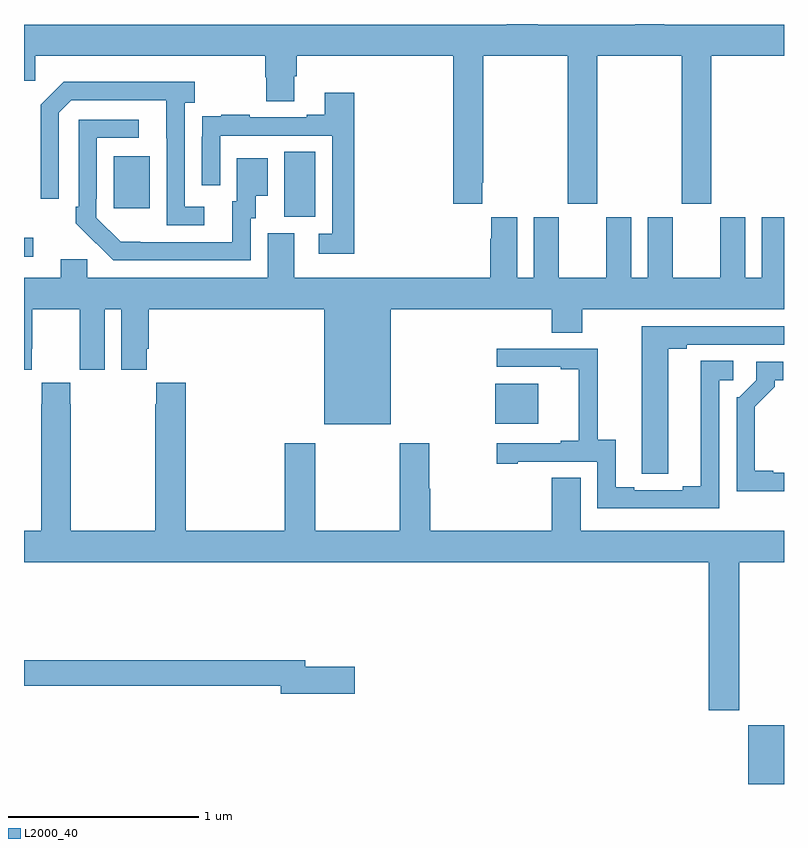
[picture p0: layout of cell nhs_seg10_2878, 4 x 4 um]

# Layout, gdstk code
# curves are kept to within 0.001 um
import gdstk
lib = gdstk.Library(unit=1e-6, precision=1e-09)
def R(c, l, rs):  # rectangles x0, y0, x1, y1
    for r in rs: c.add(gdstk.rectangle(r[:2], r[2:], *l))
def P(c, l, *ps):  # polygons
    for p in ps: c.add(gdstk.Polygon(p, *l))
L2000_40 = (2000, 40)

nhs_seg10_2878 = lib.new_cell('nhs_seg10_2878')
R(nhs_seg10_2878, L2000_40, [(270.812,1280.5,271,1280.809), (269.48,1282.397,269.707,1282.606), (267,1283.274,267.049,1283.375), (268.37,1283.485,268.534,1283.828), (267.473,1283.529,267.661,1283.803)])
P(nhs_seg10_2878, L2000_40, [(269.413,1283.665),(269.418,1283.665),(269.418,1284.332),(269.863,1284.332),(269.863,1283.553),(270.018,1283.553),(270.018,1284.332),(270.463,1284.332),(270.463,1283.553),(270.618,1283.553),(270.618,1284.332),(271,1284.332),(271,1284.496),(270.369,1284.496),(270.369,1284.5),(270.218,1284.5),(270.218,1284.496),(269.705,1284.496),(269.705,1284.5),(269.54,1284.5),(269.54,1284.496),(267,1284.496),(267,1284.201),(267.06,1284.201),(267.06,1284.332),(268.271,1284.332),(268.271,1284.219),(268.276,1284.219),(268.276,1284.094),(268.423,1284.094),(268.423,1284.226),(268.436,1284.226),(268.436,1284.332),(269.258,1284.332),(269.258,1283.553),(269.413,1283.553)],
  [(267.949,1283.538),(267.846,1283.538),(267.846,1284.086),(267.898,1284.086),(267.898,1284.196),(267.208,1284.196),(267.087,1284.075),(267.087,1283.58),(267.183,1283.58),(267.183,1284.033),(267.249,1284.099),(267.749,1284.099),(267.75,1283.442),(267.949,1283.442)],
  [(268.739,1284.139),(268.583,1284.139),(268.583,1284.022),(268.487,1284.022),(268.487,1284.009),(268.187,1284.009),(268.187,1284.022),(268.039,1284.022),(268.039,1284.015),(267.937,1284.015),(267.937,1283.906),(267.936,1283.906),(267.936,1283.652),(268.032,1283.652),(268.032,1283.913),(268.623,1283.913),(268.623,1283.397),(268.551,1283.397),(268.551,1283.292),(268.739,1283.292)],
  [(268.194,1283.478),(268.219,1283.478),(268.219,1283.597),(268.282,1283.597),(268.282,1283.794),(268.121,1283.794),(268.121,1283.568),(268.097,1283.568),(268.097,1283.352),(267.51,1283.353),(267.381,1283.481),(267.381,1283.581),(267.384,1283.581),(267.384,1283.901),(267.604,1283.901),(267.604,1283.997),(267.288,1283.997),(267.288,1283.539),(267.273,1283.539),(267.273,1283.451),(267.47,1283.256),(268.194,1283.256)],
  [(268.93,1283),(269.777,1283),(269.777,1282.876),(269.937,1282.876),(269.937,1283),(271,1283),(271,1283.482),(270.884,1283.482),(270.884,1283.164),(270.796,1283.164),(270.796,1283.482),(270.665,1283.482),(270.665,1283.164),(270.415,1283.164),(270.415,1283.482),(270.284,1283.482),(270.284,1283.164),(270.196,1283.164),(270.196,1283.482),(270.065,1283.482),(270.065,1283.164),(269.815,1283.164),(269.815,1283.482),(269.684,1283.482),(269.684,1283.164),(269.596,1283.164),(269.596,1283.482),(269.459,1283.482),(269.459,1283.369),(269.453,1283.369),(269.453,1283.164),(268.423,1283.164),(268.423,1283.4),(268.283,1283.4),(268.283,1283.164),(267.333,1283.164),(267.333,1283.262),(267.194,1283.262),(267.194,1283.164),(267,1283.164),(267,1282.68),(267.042,1282.68),(267.042,1282.792),(267.043,1282.792),(267.043,1283),(267.293,1283),(267.293,1282.792),(267.294,1282.792),(267.294,1282.68),(267.424,1282.68),(267.424,1283),(267.512,1283),(267.512,1282.68),(267.646,1282.68),(267.646,1282.792),(267.656,1282.792),(267.656,1283),(268.58,1283),(268.58,1282.394),(268.93,1282.394)],
  [(270.391,1282.792),(270.487,1282.792),(270.487,1282.812),(271,1282.812),(271,1282.908),(270.251,1282.908),(270.251,1282.24),(270.252,1282.24),(270.252,1282.132),(270.391,1282.132)],
  [(270.66,1282.626),(270.733,1282.626),(270.733,1282.727),(270.563,1282.727),(270.563,1282.067),(270.467,1282.067),(270.467,1282.047),(270.211,1282.047),(270.211,1282.062),(270.115,1282.062),(270.115,1282.313),(270.021,1282.313),(270.021,1282.791),(269.487,1282.791),(269.487,1282.695),(269.825,1282.695),(269.825,1282.683),(269.921,1282.683),(269.921,1282.306),(269.825,1282.306),(269.825,1282.293),(269.487,1282.293),(269.487,1282.185),(269.599,1282.185),(269.599,1282.197),(270.018,1282.197),(270.018,1281.951),(270.66,1281.951)],
  [(271,1282.137),(270.943,1282.137),(270.943,1282.15),(270.847,1282.15),(270.847,1282.486),(270.952,1282.591),(270.952,1282.626),(270.997,1282.626),(270.997,1282.722),(270.855,1282.722),(270.855,1282.626),(270.765,1282.536),(270.75,1282.536),(270.75,1282.04),(271,1282.04)],
  [(270.765,1281.668),(271,1281.668),(271,1281.832),(269.929,1281.832),(269.929,1282.112),(269.777,1282.112),(269.777,1281.832),(269.138,1281.832),(269.138,1282.055),(269.133,1282.055),(269.133,1282.294),(268.978,1282.294),(268.978,1281.832),(268.533,1281.832),(268.533,1282.294),(268.373,1282.294),(268.373,1281.832),(267.851,1281.832),(267.851,1282.612),(267.697,1282.612),(267.697,1282.499),(267.691,1282.499),(267.691,1281.832),(267.246,1281.832),(267.246,1282.499),(267.243,1282.499),(267.243,1282.612),(267.093,1282.612),(267.093,1282.499),(267.091,1282.499),(267.091,1281.832),(267,1281.832),(267,1281.668),(270.605,1281.668),(270.605,1280.889),(270.765,1280.889)],
  [(268.741,1281.116),(268.48,1281.116),(268.48,1281.152),(267,1281.152),(267,1281.016),(268.352,1281.016),(268.352,1280.974),(268.741,1280.974)])

lib.write_gds('nhs_seg10_2878.gds')
